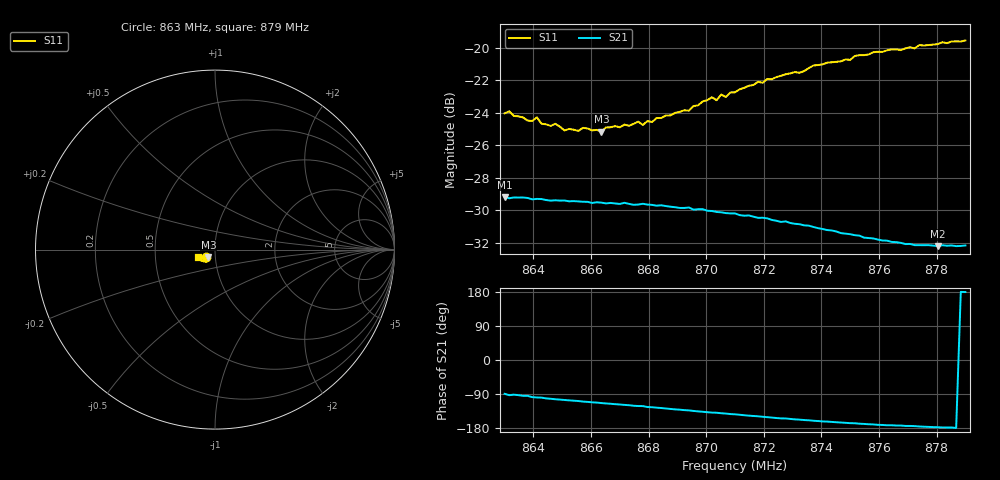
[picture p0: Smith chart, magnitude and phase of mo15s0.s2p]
# HZ S RI R 50
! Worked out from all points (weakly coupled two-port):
!   101 points, 863 MHz to 879 MHz, reference 50 ohm
!   highest |S21| = -29.17 dB at 863 MHz (marker M1); lowest = -32.2 dB at 878.04 MHz (marker M2)
!   lowest |S11| = -25.2 dB at 866.36 MHz (marker M3), VSWR 1.12, Z = 46.3 - j3.88 ohm
!   |S11| at or under -10 dB: start of sweep to end of sweep
!   S12 and S22 are empty: the file has one direction only
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8.63e8  -0.0479 -0.0407  0.000472 -0.0348  0 0  0 0
8.6316e8  -0.0495 -0.0403  -0.0017 -0.0344  0 0  0 0
8.638e8  -0.0436 -0.0408  -0.0028 -0.0344  0 0  0 0
8.6412e8  -0.0449 -0.0415  -0.00533 -0.0339  0 0  0 0
8.6428e8  -0.0411 -0.0415  -0.00551 -0.0338  0 0  0 0
8.6476e8  -0.0414 -0.0412  -0.008 -0.033  0 0  0 0
8.6508e8  -0.0377 -0.041  -0.00911 -0.0327  0 0  0 0
8.6572e8  -0.0363 -0.0436  -0.0113 -0.0317  0 0  0 0
8.6636e8  -0.0362 -0.0417  -0.0134 -0.0306  0 0  0 0
8.6652e8  -0.0348 -0.045  -0.0138 -0.0302  0 0  0 0
8.6764e8  -0.0333 -0.049  -0.0172 -0.0281  0 0  0 0
8.678e8  -0.0309 -0.0489  -0.0174 -0.0282  0 0  0 0
8.6844e8  -0.0323 -0.0515  -0.0196 -0.0263  0 0  0 0
8.694e8  -0.0327 -0.0551  -0.022 -0.0236  0 0  0 0
8.702e8  -0.0364 -0.0603  -0.0237 -0.0207  0 0  0 0
8.7036e8  -0.0358 -0.0589  -0.0237 -0.0205  0 0  0 0
8.7052e8  -0.0374 -0.0613  -0.0241 -0.0199  0 0  0 0
8.71e8  -0.0384 -0.062  -0.0248 -0.0185  0 0  0 0
8.7372e8  -0.0572 -0.0671  -0.0265 -0.00948  0 0  0 0
8.7644e8  -0.0793 -0.059  -0.0251 -0.00345  0 0  0 0
8.7804e8  -0.09 -0.0493  -0.0245 -0.00111  0 0  0 0
8.79e8  -0.0969 -0.0411  -0.0247 0.000291  0 0  0 0
